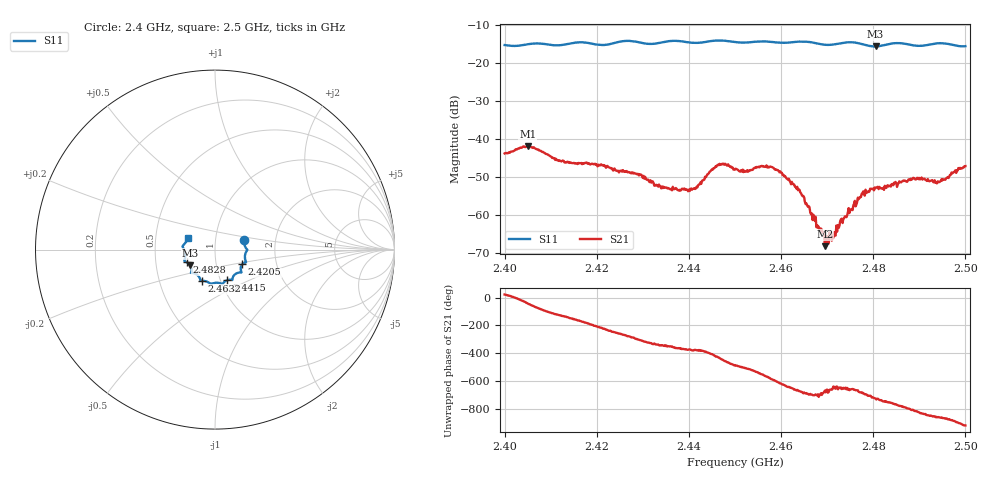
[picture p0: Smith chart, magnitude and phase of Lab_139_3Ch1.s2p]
# Hz S RI R 50
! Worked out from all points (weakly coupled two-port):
!   601 points, 2.4 GHz to 2.5 GHz, reference 50 ohm
!   highest |S21| = -42.00 dB at 2.405 GHz (marker M1); lowest = -68.3 dB at 2.4695 GHz (marker M2)
!   lowest |S11| = -15.7 dB at 2.4805 GHz (marker M3), VSWR 1.39, Z = 37.3 - j6.69 ohm
!   |S11| at or under -10 dB: start of sweep to end of sweep
!   S12 and S22 are empty: the file has one direction only
!   S11 on the Smith chart (normalised r, x): 2.4 GHz: 1.38, +0.15; 2.4205 GHz: 1.34, -0.23; 2.4415 GHz: 1.07, -0.38; 2.4632 GHz: 0.82, -0.29; 2.4828 GHz: 0.72, -0.10; 2.5 GHz: 0.73, +0.10
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2.4e9  0.1638 0.0515  0.00595 0.00234  0 0  0 0
2.405e9  0.1756 0.00421  0.00591 -0.0053  0 0  0 0
2.411833e9  0.1667 -0.0352  -0.00298 -0.00412  0 0  0 0
2.416667e9  0.1729 -0.0699  -0.00472 -0.000763  0 0  0 0
2.4205e9  0.1521 -0.0817  -0.00382 0.00234  0 0  0 0
2.429167e9  0.136 -0.1275  0.00176 0.00277  0 0  0 0
2.433333e9  0.1004 -0.1515  0.00214 0.000935  0 0  0 0
2.4415e9  0.0657 -0.1707  0.00212 -0.000583  0 0  0 0
2.446333e9  0.0407 -0.193  0.00172 -0.00421  0 0  0 0
2.45e9  0.0243 -0.1863  -0.00217 -0.00326  0 0  0 0
2.458e9  -0.0314 -0.1856  -0.00299 0.00299  0 0  0 0
2.463167e9  -0.0732 -0.174  0.00119 0.00199  0 0  0 0
2.466667e9  -0.0822 -0.167  0.000937 0.000444  0 0  0 0
2.4695e9  -0.0947 -0.1448  0.000226 0.000309  0 0  0 0
2.471333e9  -0.1121 -0.1336  6.2e-05 0.000489  0 0  0 0
2.477333e9  -0.1314 -0.1203  0.00127 0.00114  0 0  0 0
2.4805e9  -0.1391 -0.0873  0.00222 -0.000135  0 0  0 0
2.482833e9  -0.1586 -0.0701  0.00206 -0.000904  0 0  0 0
2.483333e9  -0.1625 -0.0681  0.002 -0.00123  0 0  0 0
2.489167e9  -0.1652 -0.033  -0.000163 -0.00289  0 0  0 0
2.494e9  -0.1804 0.0152  -0.00196 -0.00191  0 0  0 0
2.5e9  -0.1528 0.0643  -0.0042 0.00117  0 0  0 0
